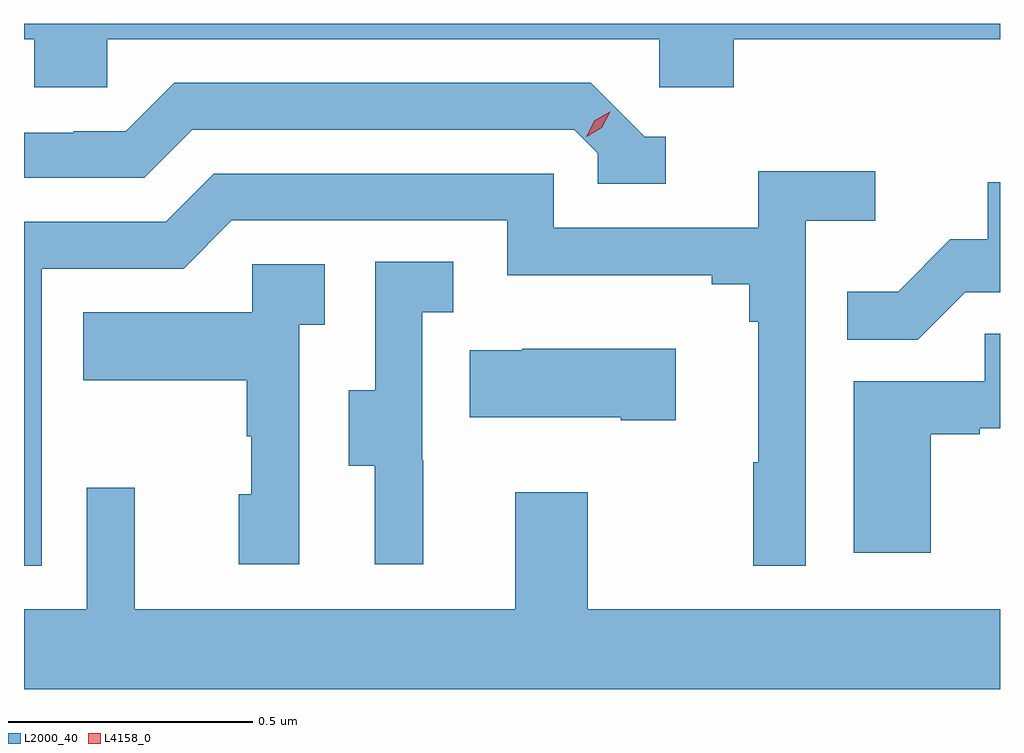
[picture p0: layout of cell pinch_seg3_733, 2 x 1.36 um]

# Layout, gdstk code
import gdstk
lib = gdstk.Library(unit=1e-6, precision=1e-09)
def P(c, l, *ps):  # polygons
    for p in ps: c.add(gdstk.Polygon(p, *l))
L2000_40 = (2000, 40)
L4158_0 = (4158, 0)

pinch_seg3_733 = lib.new_cell('pinch_seg3_733')
P(pinch_seg3_733, L2000_40, [(842.913,748.868),(844.044,748.868),(844.044,748.77),(844.196,748.77),(844.196,748.868),(844.742,748.868),(844.742,748.9),(842.742,748.9),(842.742,748.868),(842.763,748.868),(842.763,748.77),(842.913,748.77)],
  [(844.057,748.668),(844.014,748.668),(843.903,748.779),(843.05,748.779),(842.951,748.68),(842.844,748.68),(842.844,748.677),(842.742,748.677),(842.742,748.584),(842.988,748.584),(843.087,748.683),(843.87,748.683),(843.918,748.635),(843.918,748.572),(844.057,748.572)],
  [(842.778,748.398),(843.069,748.398),(843.168,748.497),(843.732,748.497),(843.732,748.385),(844.151,748.385),(844.151,748.366),(844.228,748.366),(844.228,748.289),(844.247,748.289),(844.247,748.001),(844.236,748.001),(844.236,747.789),(844.344,747.789),(844.344,748.496),(844.486,748.496),(844.486,748.598),(844.247,748.598),(844.247,748.482),(843.828,748.482),(843.828,748.593),(843.131,748.593),(843.032,748.494),(842.742,748.494),(842.742,747.789),(842.778,747.789)],
  [(844.671,748.35),(844.742,748.35),(844.742,748.575),(844.717,748.575),(844.717,748.458),(844.64,748.458),(844.533,748.351),(844.429,748.351),(844.429,748.252),(844.573,748.252)],
  [(843.56,748.005),(843.558,748.005),(843.558,748.309),(843.622,748.309),(843.622,748.412),(843.462,748.412),(843.462,748.149),(843.407,748.149),(843.407,747.994),(843.461,747.994),(843.461,747.792),(843.56,747.792)],
  [(843.306,748.283),(843.358,748.283),(843.358,748.407),(843.21,748.407),(843.21,748.309),(842.863,748.309),(842.863,748.169),(843.198,748.169),(843.198,748.055),(843.208,748.055),(843.208,747.936),(843.182,747.936),(843.182,747.792),(843.306,747.792)],
  [(844.6,748.059),(844.7,748.059),(844.7,748.071),(844.742,748.071),(844.742,748.265),(844.711,748.265),(844.711,748.167),(844.442,748.167),(844.442,747.816),(844.6,747.816)],
  [(844.078,748.234),(843.763,748.234),(843.763,748.231),(843.655,748.231),(843.655,748.094),(843.965,748.094),(843.965,748.087),(844.078,748.087)],
  [(844.742,747.7),(843.897,747.7),(843.897,747.94),(843.749,747.94),(843.749,747.7),(842.969,747.7),(842.969,747.949),(842.871,747.949),(842.871,747.7),(842.742,747.7),(842.742,747.536),(844.742,747.536)])
P(pinch_seg3_733, L4158_0, [(843.894,748.668),(843.894,748.668),(843.911,748.701),(843.942,748.72),(843.943,748.72),(843.943,748.72),(843.926,748.687),(843.895,748.668)])

lib.write_gds('pinch_seg3_733.gds')
